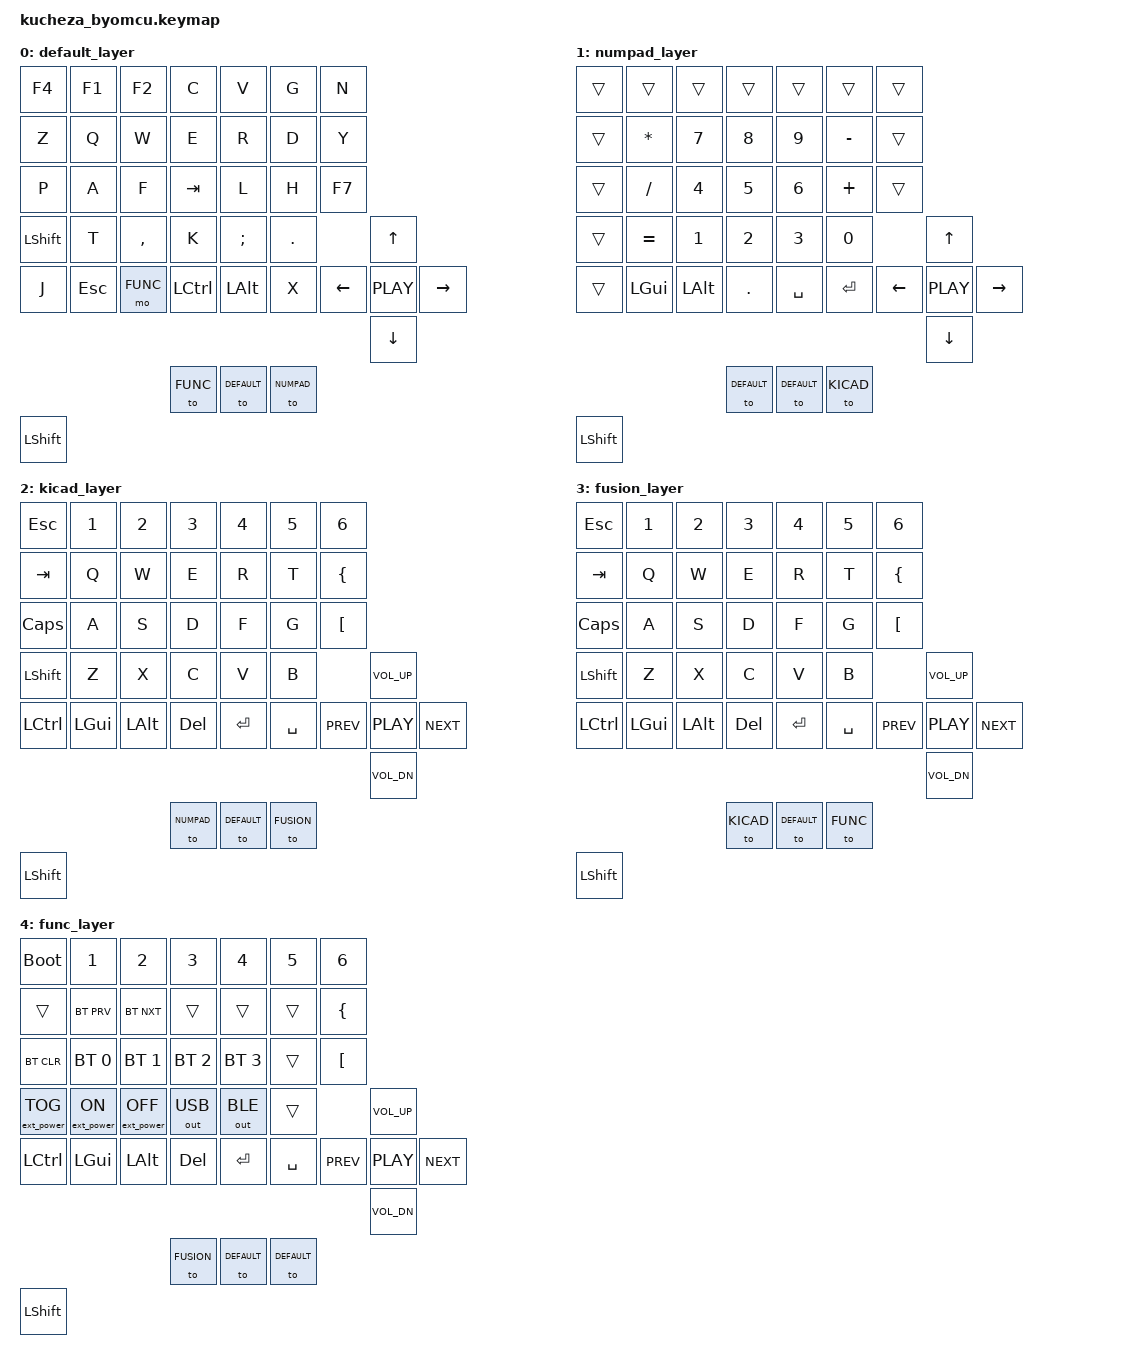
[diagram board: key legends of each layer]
/*
 * Copyright (c) 2020 The ZMK Contributors
 *
 * SPDX-License-Identifier: MIT
 */

#include <behaviors.dtsi>
#include <dt-bindings/zmk/keys.h>
#include <dt-bindings/zmk/bt.h>
#include <dt-bindings/zmk/ext_power.h>
#include <dt-bindings/zmk/outputs.h>

#define DEFAULT 0
#define NUMPAD  1
#define KICAD   2
#define FUSION  3
#define FUNC    4

// +-------+-------+-------+-------+-------+-------+-------+
// |       |       |       |       |       |       |       |
// +-------+-------+-------+-------+-------+-------+-------+
// |       |       |       |       |       |       |       |
// +-------+-------+-------+-------+-------+-------+-------+
// |       |       |       |       |       |       |       |
// +-------+-------+-------+-------+-------+-------+-------+           +-------+
// |       |       |       |       |       |       |                   |       |
// +-------+-------+-------+-------+-------+-------+-------+   +-------+-------+-------+
// |       |       |       |       |       |       |       |   |       |       |       |    <--- 5 way nav
// +-------+-------+-------+       +-------+-------+-------+   +-------+-------+-------+
//                                                                     |       |
//                                                                     +-------+
//                                 +-------+-------+-------+
//                                 |       |       |       |   <--- 3 way thumb
//                                 +-------+-------+-------+

//    ----.
//         '..
//            '
//        +-------+
//        |       |
//        |       |    <---- foot pedal via TRRS
//        |       |
//        +-------+

/ {
    keymap {
        compatible = "zmk,keymap";

        default_layer {
            bindings = <
                &kp F4     &kp F1     &kp F2     &kp C      &kp V      &kp G      &kp N
                &kp Z      &kp Q      &kp W      &kp E      &kp R      &kp D      &kp Y
                &kp P      &kp A      &kp F      &kp TAB    &kp L      &kp H      &kp F7
                &kp LSHFT  &kp T      &kp COMMA  &kp K      &kp SEMI   &kp DOT                            &kp UP
                &kp J      &kp ESC    &mo FUNC              &kp LCTRL  &kp LALT   &kp X        &kp LEFT   &kp C_PLAY   &kp RIGHT
                                                                                                          &kp DOWN
                                                        &to FUNC     &to DEFAULT    &to NUMPAD
                &kp LSHFT
            >;
        };
        
        numpad_layer {
            bindings = <
                &trans     &trans     &trans     &trans     &trans     &trans     &trans
                &trans     &kp ASTRK  &kp N7     &kp N8     &kp N9     &kp MINUS  &trans
                &trans     &kp FSLH   &kp N4     &kp N5     &kp N6     &kp PLUS   &trans
                &trans     &kp EQUAL  &kp N1     &kp N2     &kp N3     &kp N0                             &kp UP
                &trans     &kp LGUI   &kp LALT              &kp DOT    &kp SPC    &kp ENTER    &kp LEFT   &kp C_PLAY   &kp RIGHT
                                                                                                          &kp DOWN
                                                        &to DEFAULT    &to DEFAULT    &to KICAD
                &kp LSHFT
            >;
        };

        kicad_layer {
            bindings = <
                &kp ESC    &kp N1     &kp N2     &kp N3     &kp N4     &kp N5     &kp N6
                &kp TAB    &kp Q      &kp W      &kp E      &kp R      &kp T      &kp LBRC
                &kp CAPS   &kp A      &kp S      &kp D      &kp F      &kp G      &kp LBKT
                &kp LSHFT  &kp Z      &kp X      &kp C      &kp V      &kp B                              &kp C_VOL_UP
                &kp LCTRL  &kp LGUI   &kp LALT              &kp DEL    &kp ENTER  &kp SPC      &kp C_PREV &kp C_PLAY   &kp C_NEXT
                                                                                                          &kp C_VOL_DN
                                                        &to NUMPAD   &to DEFAULT    &to FUSION
                &kp LSHFT
            >;
        };

        fusion_layer {
            bindings = <
                &kp ESC    &kp N1     &kp N2     &kp N3     &kp N4     &kp N5     &kp N6
                &kp TAB    &kp Q      &kp W      &kp E      &kp R      &kp T      &kp LBRC
                &kp CAPS   &kp A      &kp S      &kp D      &kp F      &kp G      &kp LBKT
                &kp LSHFT  &kp Z      &kp X      &kp C      &kp V      &kp B                              &kp C_VOL_UP
                &kp LCTRL  &kp LGUI   &kp LALT              &kp DEL    &kp ENTER  &kp SPC      &kp C_PREV &kp C_PLAY   &kp C_NEXT
                                                                                                          &kp C_VOL_DN
                                                        &to KICAD    &to DEFAULT    &to FUNC
                &kp LSHFT
            >;
        };

        func_layer {
            bindings = <
                &bootloader        &kp N1            &kp N2             &kp N3         &kp N4          &kp N5      &kp N6
                &trans             &bt BT_PRV        &bt BT_NXT         &trans         &trans          &trans      &kp LBRC
                &bt BT_CLR         &bt BT_SEL 0      &bt BT_SEL 1       &bt BT_SEL 2   &bt BT_SEL 3    &trans      &kp LBKT
                &ext_power EP_TOG  &ext_power EP_ON  &ext_power EP_OFF  &out OUT_USB   &out OUT_BLE    &trans                               &kp C_VOL_UP
                &kp LCTRL          &kp LGUI          &kp LALT           &kp DEL        &kp ENTER       &kp SPC                   &kp C_PREV &kp C_PLAY   &kp C_NEXT
                                                                                                                                            &kp C_VOL_DN
                                                                                      &to FUSION    &to DEFAULT    &to DEFAULT
                &kp LSHFT
            >;
        };
    };
};
